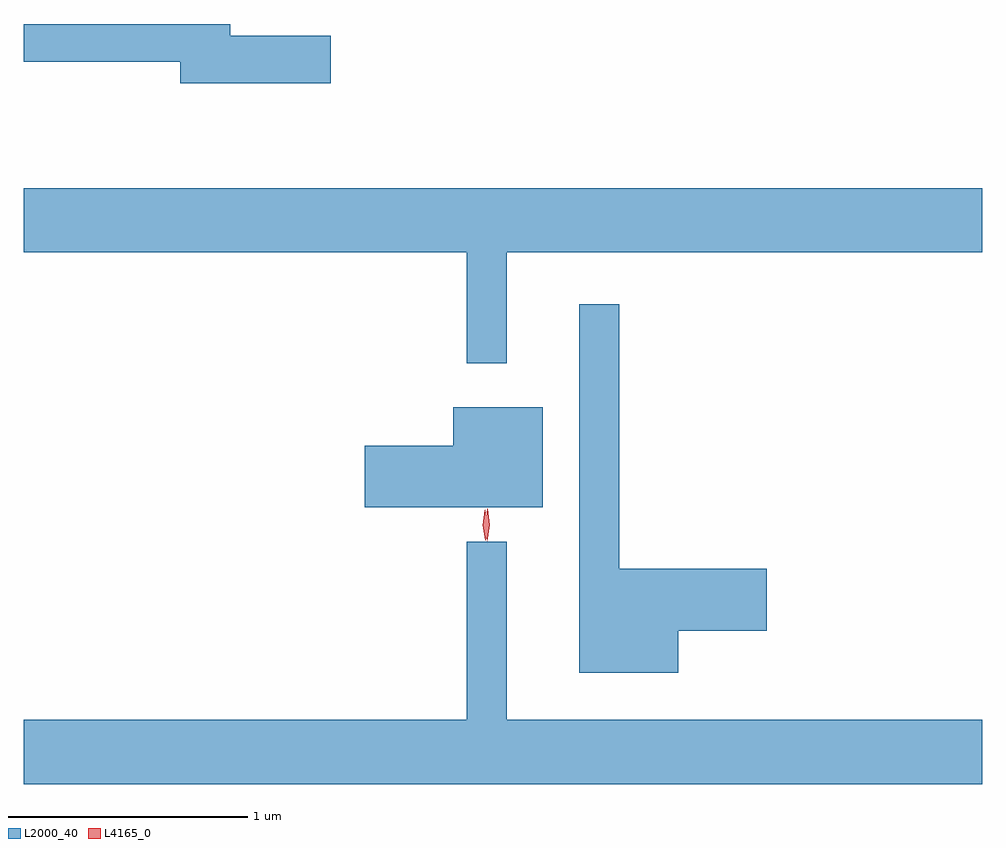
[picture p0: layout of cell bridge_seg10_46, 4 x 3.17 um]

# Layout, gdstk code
import gdstk
lib = gdstk.Library(unit=1e-6, precision=1e-09)
def P(c, l, *ps):  # polygons
    for p in ps: c.add(gdstk.Polygon(p, *l))
L2000_40 = (2000, 40)
L4165_0 = (4165, 0)

bridge_seg10_46 = lib.new_cell('bridge_seg10_46')
P(bridge_seg10_46, L2000_40, [(1597.104,2219.159),(1596.684,2219.159),(1596.684,2219.209),(1595.823,2219.209),(1595.823,2219.051),(1596.476,2219.051),(1596.476,2218.961),(1597.104,2218.961)],
  [(1597.839,2218.256),(1599.823,2218.256),(1599.823,2218.524),(1595.823,2218.524),(1595.823,2218.256),(1597.671,2218.256),(1597.671,2217.793),(1597.839,2217.793)],
  [(1598.554,2216.676),(1598.924,2216.676),(1598.924,2216.934),(1598.309,2216.934),(1598.309,2218.038),(1598.141,2218.038),(1598.141,2216.501),(1598.554,2216.501)],
  [(1597.989,2217.609),(1597.616,2217.609),(1597.616,2217.449),(1597.246,2217.449),(1597.246,2217.191),(1597.989,2217.191)],
  [(1599.823,2216.304),(1597.839,2216.304),(1597.839,2217.048),(1597.671,2217.048),(1597.671,2216.304),(1595.823,2216.304),(1595.823,2216.036),(1599.823,2216.036)])
P(bridge_seg10_46, L4165_0, [(1597.757,2217.05),(1597.757,2217.05),(1597.748,2217.118),(1597.758,2217.186),(1597.759,2217.186),(1597.759,2217.186),(1597.768,2217.118),(1597.758,2217.05)],
  [(1597.749,2217.053),(1597.739,2217.116),(1597.747,2217.179),(1597.748,2217.18),(1597.748,2217.179),(1597.759,2217.116),(1597.75,2217.053),(1597.75,2217.053)])

lib.write_gds('bridge_seg10_46.gds')
